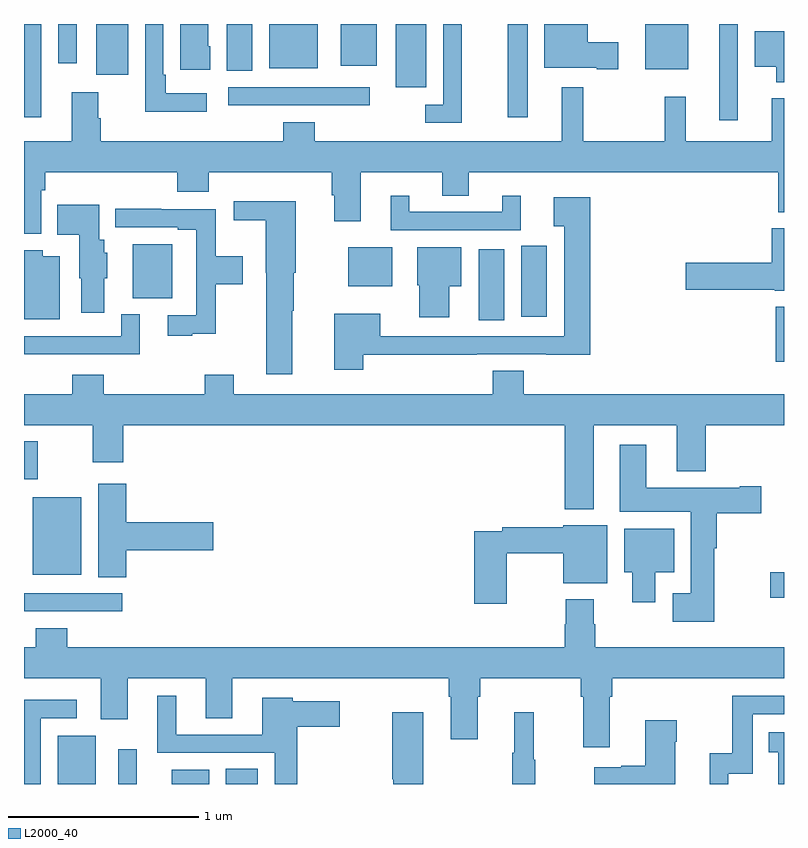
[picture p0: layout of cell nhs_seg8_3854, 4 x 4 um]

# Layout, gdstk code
import gdstk
lib = gdstk.Library(unit=1e-6, precision=1e-09)
def R(c, l, rs):  # rectangles x0, y0, x1, y1
    for r in rs: c.add(gdstk.rectangle(r[:2], r[2:], *l))
def P(c, l, *ps):  # polygons
    for p in ps: c.add(gdstk.Polygon(p, *l))
L2000_40 = (2000, 40)

nhs_seg8_3854 = lib.new_cell('nhs_seg8_3854')
R(nhs_seg8_3854, L2000_40, [(347.177,1159.9,347.377,1160.155), (347.496,1159.9,347.594,1160.083), (347.777,1159.9,347.974,1159.975), (348.062,1159.9,348.229,1159.979), (347,1160.808,347.518,1160.904), (350.928,1160.879,351,1161.014), (347.045,1161.002,347.302,1161.409), (347,1161.504,347.073,1161.703), (350.957,1162.122,351,1162.411), (349.394,1162.342,349.528,1162.714), (349.616,1162.359,349.75,1162.734), (347.573,1162.457,347.779,1162.741), (348.707,1162.52,348.937,1162.726), (350.66,1163.394,350.757,1163.9), (347,1163.409,347.092,1163.9), (349.547,1163.409,349.651,1163.9), (348.075,1163.472,348.82,1163.568), (348.956,1163.567,349.117,1163.9), (347.381,1163.634,347.548,1163.9), (348.068,1163.653,348.202,1163.9), (350.27,1163.663,350.497,1163.9), (348.29,1163.666,348.547,1163.9), (348.668,1163.681,348.856,1163.9), (347.181,1163.694,347.277,1163.9)])
P(nhs_seg8_3854, L2000_40, [(349.305,1163.897),(349.302,1163.897),(349.302,1163.9),(349.206,1163.9),(349.206,1163.475),(349.113,1163.475),(349.113,1163.379),(349.305,1163.379)],
  [(350.128,1163.804),(349.966,1163.804),(349.966,1163.9),(349.739,1163.9),(349.739,1163.669),(350.015,1163.669),(350.015,1163.662),(350.128,1163.662)],
  [(347.962,1163.535),(347.745,1163.535),(347.745,1163.632),(347.733,1163.632),(347.733,1163.9),(347.637,1163.9),(347.637,1163.438),(347.962,1163.438)],
  [(347.98,1163.784),(347.971,1163.784),(347.971,1163.9),(347.822,1163.9),(347.822,1163.658),(347.98,1163.658)],
  [(351,1163.863),(350.846,1163.863),(350.846,1163.675),(350.96,1163.675),(350.96,1163.594),(351,1163.594)],
  [(347.091,1163.024),(347.111,1163.024),(347.111,1163.12),(347.807,1163.12),(347.807,1163.018),(347.972,1163.018),(347.972,1163.12),(348.62,1163.12),(348.62,1163),(348.632,1163),(348.632,1162.863),(348.772,1162.863),(348.772,1163.12),(349.202,1163.12),(349.202,1162.996),(349.342,1162.996),(349.342,1163.12),(350.971,1163.12),(350.971,1162.91),(351,1162.91),(351,1163.509),(350.936,1163.509),(350.936,1163.284),(350.483,1163.284),(350.483,1163.518),(350.373,1163.518),(350.373,1163.284),(349.943,1163.284),(349.943,1163.566),(349.829,1163.566),(349.829,1163.284),(348.53,1163.284),(348.53,1163.383),(348.365,1163.383),(348.365,1163.284),(347.405,1163.284),(347.405,1163.405),(347.392,1163.405),(347.392,1163.542),(347.252,1163.542),(347.252,1163.284),(347,1163.284),(347,1162.797),(347.091,1162.797)],
  [(349.615,1162.996),(349.517,1162.996),(349.517,1162.911),(349.027,1162.911),(349.027,1162.996),(348.929,1162.996),(348.929,1162.815),(349.615,1162.815)],
  [(348.785,1162.16),(349.382,1162.16),(349.382,1162.161),(349.748,1162.161),(349.748,1162.16),(349.979,1162.16),(349.979,1162.987),(349.788,1162.987),(349.788,1162.835),(349.844,1162.835),(349.844,1162.257),(348.874,1162.257),(348.874,1162.375),(348.632,1162.375),(348.632,1162.08),(348.785,1162.08)],
  [(348.412,1162.39),(348.42,1162.39),(348.42,1162.59),(348.43,1162.59),(348.43,1162.966),(348.105,1162.966),(348.105,1162.868),(348.272,1162.868),(348.272,1162.59),(348.275,1162.59),(348.275,1162.056),(348.412,1162.056)],
  [(347.422,1162.563),(347.437,1162.563),(347.437,1162.695),(347.422,1162.695),(347.422,1162.764),(347.395,1162.764),(347.395,1162.948),(347.176,1162.948),(347.176,1162.79),(347.291,1162.79),(347.291,1162.563),(347.3,1162.563),(347.3,1162.38),(347.422,1162.38)],
  [(347.885,1162.271),(348.008,1162.271),(348.008,1162.531),(348.151,1162.531),(348.151,1162.678),(348.008,1162.678),(348.008,1162.926),(347.723,1162.926),(347.723,1162.928),(347.481,1162.928),(347.481,1162.83),(347.81,1162.83),(347.81,1162.818),(347.907,1162.818),(347.907,1162.368),(347.757,1162.368),(347.757,1162.26),(347.885,1162.26)],
  [(351,1162.825),(350.936,1162.825),(350.936,1162.644),(350.484,1162.644),(350.484,1162.502),(350.952,1162.502),(350.952,1162.496),(351,1162.496)],
  [(349.237,1162.52),(349.3,1162.52),(349.3,1162.726),(349.07,1162.726),(349.07,1162.524),(349.079,1162.524),(349.079,1162.356),(349.237,1162.356)],
  [(347.188,1162.678),(347.098,1162.678),(347.098,1162.708),(347,1162.708),(347,1162.346),(347.188,1162.346)],
  [(347.608,1162.372),(347.511,1162.372),(347.511,1162.257),(347,1162.257),(347,1162.161),(347.608,1162.161)],
  [(349.999,1161.788),(350.435,1161.788),(350.435,1161.545),(350.588,1161.545),(350.588,1161.788),(351,1161.788),(351,1161.952),(349.631,1161.952),(349.631,1162.076),(349.466,1162.076),(349.466,1161.952),(348.103,1161.952),(348.103,1162.054),(347.951,1162.054),(347.951,1161.952),(347.42,1161.952),(347.42,1162.054),(347.255,1162.054),(347.255,1161.952),(347,1161.952),(347,1161.788),(347.362,1161.788),(347.362,1161.594),(347.522,1161.594),(347.522,1161.788),(349.847,1161.788),(349.847,1161.347),(349.999,1161.347)],
  [(350.632,1161.142),(350.645,1161.142),(350.645,1161.326),(350.881,1161.326),(350.881,1161.468),(350.768,1161.468),(350.768,1161.46),(350.275,1161.46),(350.275,1161.685),(350.135,1161.685),(350.135,1161.332),(350.51,1161.332),(350.51,1160.905),(350.415,1160.905),(350.415,1160.753),(350.632,1160.753)],
  [(347.537,1161.131),(347.995,1161.131),(347.995,1161.278),(347.537,1161.278),(347.537,1161.481),(347.39,1161.481),(347.39,1160.989),(347.537,1160.989)],
  [(349.54,1161.115),(349.838,1161.115),(349.838,1160.957),(350.071,1160.957),(350.071,1161.262),(349.838,1161.262),(349.838,1161.251),(349.516,1161.251),(349.516,1161.231),(349.37,1161.231),(349.37,1160.85),(349.54,1160.85)],
  [(350.323,1161.014),(350.422,1161.014),(350.422,1161.244),(350.159,1161.244),(350.159,1161.014),(350.201,1161.014),(350.201,1160.856),(350.323,1160.856)],
  [(350.083,1160.36),(350.096,1160.36),(350.096,1160.456),(351,1160.456),(351,1160.62),(350.007,1160.62),(350.007,1160.741),(349.999,1160.741),(349.999,1160.872),(349.852,1160.872),(349.852,1160.741),(349.847,1160.741),(349.847,1160.62),(347.228,1160.62),(347.228,1160.719),(347.063,1160.719),(347.063,1160.62),(347,1160.62),(347,1160.456),(347.405,1160.456),(347.405,1160.241),(347.545,1160.241),(347.545,1160.456),(347.957,1160.456),(347.957,1160.245),(348.097,1160.245),(348.097,1160.456),(349.235,1160.456),(349.235,1160.36),(349.247,1160.36),(349.247,1160.136),(349.387,1160.136),(349.387,1160.36),(349.4,1160.36),(349.4,1160.456),(349.931,1160.456),(349.931,1160.36),(349.943,1160.36),(349.943,1160.094),(350.083,1160.094)],
  [(348.437,1160.201),(348.661,1160.201),(348.661,1160.335),(348.414,1160.335),(348.414,1160.353),(348.254,1160.353),(348.254,1160.16),(347.8,1160.16),(347.8,1160.365),(347.702,1160.365),(347.702,1160.064),(348.321,1160.064),(348.321,1159.9),(348.437,1159.9)],
  [(350.706,1159.953),(350.835,1159.953),(350.835,1160.268),(351,1160.268),(351,1160.364),(350.727,1160.364),(350.727,1160.062),(350.609,1160.062),(350.609,1159.9),(350.706,1159.9)],
  [(347.088,1160.247),(347.278,1160.247),(347.278,1160.343),(347,1160.343),(347,1159.9),(347.088,1159.9)],
  [(349.69,1160.028),(349.682,1160.028),(349.682,1160.278),(349.58,1160.278),(349.58,1160.065),(349.569,1160.065),(349.569,1159.9),(349.69,1159.9)],
  [(349.102,1160.278),(348.938,1160.278),(348.938,1159.926),(348.944,1159.926),(348.944,1159.9),(349.102,1159.9)],
  [(350.428,1160.123),(350.436,1160.123),(350.436,1160.236),(350.27,1160.236),(350.27,1159.997),(350.144,1159.997),(350.144,1159.987),(350.001,1159.987),(350.001,1159.9),(350.428,1159.9)],
  [(351,1160.173),(350.92,1160.173),(350.92,1160.067),(350.969,1160.067),(350.969,1159.9),(351,1159.9)])

lib.write_gds('nhs_seg8_3854.gds')
